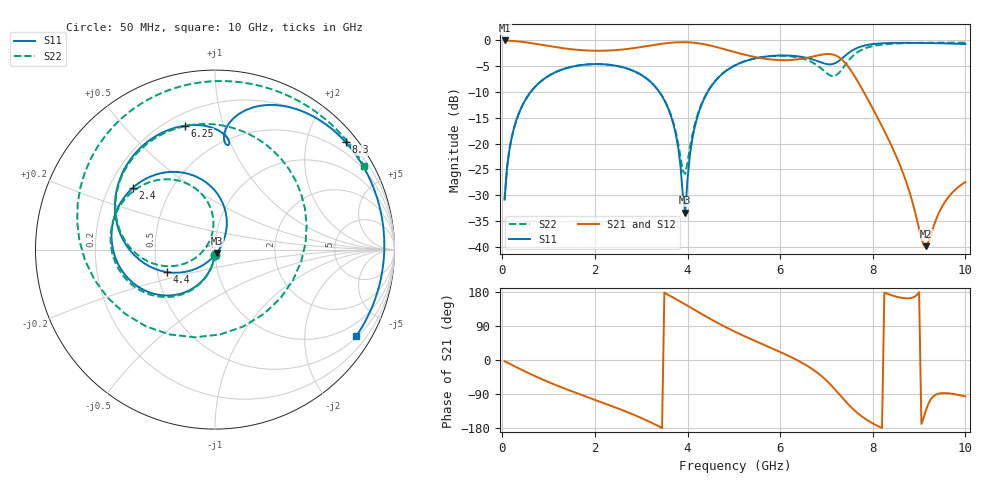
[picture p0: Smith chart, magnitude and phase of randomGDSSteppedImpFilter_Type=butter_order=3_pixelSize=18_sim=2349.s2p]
! freq	dB(S11)	phase(S11)	dB(S12)	phase(S12)
!  dB(S21)	phase(S21)	dB(S22)	phase(S22)
!S-par simulation data
#  GHz  S  DB  R 50
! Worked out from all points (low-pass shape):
!   200 points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, 50 MHz to 10 GHz, reference 50 ohm
!   highest |S21| = -0.01 dB at 50 MHz (marker M1); lowest = -39.9 dB at 9.15 GHz (marker M2)
!   |S21| within 3 dB of the highest: start of sweep to 5.347 GHz; 6.765 GHz to 7.218 GHz (452.7 MHz wide, 6.47 % of centre)
!   lowest |S11| = -33.4 dB at 3.95 GHz (marker M3), VSWR 1.04, Z = 51.1 - j1.86 ohm
!   |S11| at or under -10 dB: start of sweep to 614.1 MHz; 3.391 GHz to 4.436 GHz (1.045 GHz wide, 26.7 % of centre)
!   |S22| runs from -30.9 to -0.4 dB; largest |S21 - S12| = 0
!   S11 on the Smith chart (normalised r, x): 50 MHz: 0.99, -0.06; 2.4 GHz: 0.30, +0.31; 4.4 GHz: 0.56, -0.15; 6.25 GHz: 0.27, +0.75; 8.3 GHz: 0.26, +2.77; 10 GHz: 0.53, -3.46
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0.05  -30.87 -93.4  -0.01 -3.2  -0.01 -3.2  -30.87 -93.3
0.2  -18.97 -103.3  -0.08 -12.6  -0.08 -12.6  -18.97 -102.8
0.5  -11.52 -121.9  -0.36 -30.7  -0.36 -30.7  -11.52 -120.7
1.75  -4.73 173.4  -1.91 -93.9  -1.91 -93.9  -4.73 177.8
2.4  -4.83 143.3  -1.91 -123.2  -1.91 -123.2  -4.83 149.9
3.4  -10.11 87.7  -0.72 -176.2  -0.72 -176.2  -10.08 102.9
3.75  -18.32 59.1  -0.38 160.7  -0.38 160.7  -17.90 94.2
3.95  -33.38 -58.0  -0.34 146.7  -0.34 146.7  -25.91 159.8
4.1  -19.27 -127.5  -0.41 135.9  -0.41 135.9  -18.43 -156.6
4.4  -10.57 -155.0  -0.81 114.7  -0.81 114.7  -10.43 -162.4
5.05  -4.73 162.3  -2.33 73.1  -2.33 73.1  -4.70 161.3
5.6  -3.24 133.3  -3.45 42.7  -3.45 42.7  -3.26 131.1
6.25  -2.96 103.7  -3.78 6.8  -3.78 6.8  -3.12 91.0
6.7  -3.69 86.7  -3.14 -24.5  -3.14 -24.5  -4.29 47.7
7  -4.57 82.5  -2.65 -54.2  -2.65 -54.2  -6.29 -7.8
7.3  -3.75 85.4  -3.46 -93.7  -3.46 -93.7  -6.00 -103.0
7.5  -2.29 80.0  -5.45 -120.6  -5.45 -120.6  -3.66 -155.9
7.7  -1.32 69.8  -8.31 -142.9  -8.31 -142.9  -2.12 168.5
8.3  -0.52 39.4  -18.46 175.6  -18.46 175.6  -0.72 110.3
8.35  -0.50 37.1  -19.38 173.3  -19.38 173.3  -0.69 107.0
9.15  -0.50 2.9  -39.90 -132.4  -39.90 -132.4  -0.45 64.8
10  -0.70 -31.6  -27.46 -96.0  -27.46 -96.0  -0.43 29.3
